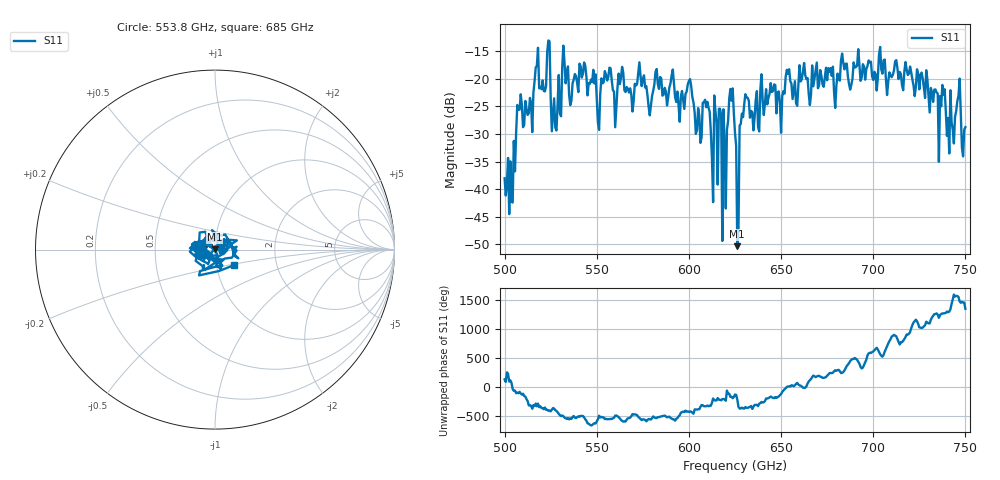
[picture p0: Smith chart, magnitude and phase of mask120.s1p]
!Created with skrf (http://scikit-rf.org).
# GHz S MA R 50.0
!freq magS11 angS11
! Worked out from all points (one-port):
!   401 points, 500 GHz to 750 GHz, reference 50 ohm
!   lowest |S11| = -50.3 dB at 626.2 GHz (marker M1), VSWR 1.01, Z = 49.8 + j0.196 ohm
!   |S11| at or under -10 dB: start of sweep to end of sweep
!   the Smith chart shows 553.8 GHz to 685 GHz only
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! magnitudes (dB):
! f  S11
! 500 GHz  -38.0
! 503.8 GHz  -42.3
! 508.1 GHz  -25.6
! 513.8 GHz  -23.5
! 516.9 GHz  -18.0
! 523.8 GHz  -13.1
! 526.9 GHz  -23.6
! 531.2 GHz  -18.0
! 542.5 GHz  -19.1
! 551.2 GHz  -29.3
! 562.5 GHz  -21.0
! 593.8 GHz  -22.3
! 600.6 GHz  -20.1
! 605.6 GHz  -26.7
! 609.4 GHz  -25.2
! 611.9 GHz  -29.5
! 616.2 GHz  -25.4
! 619.4 GHz  -32.0
! 623.1 GHz  -24.0
! 625 GHz  -29.8
! 626.2 GHz  -50.3
! 631.2 GHz  -23.4
! 656.2 GHz  -23.7
! 687.5 GHz  -22.0
! 718.8 GHz  -19.3
! 742.5 GHz  -27.9
! 746.2 GHz  -23.1
! 750 GHz  -28.8
